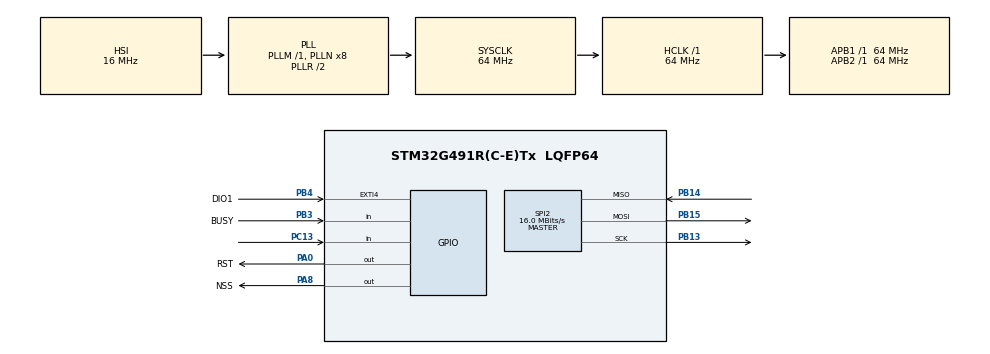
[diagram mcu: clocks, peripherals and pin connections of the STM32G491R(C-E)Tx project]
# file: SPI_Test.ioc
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Mcu.Family=STM32G4
Mcu.Name=STM32G491R(C-E)Tx
Mcu.Package=LQFP64
NUCLEO-G491RE.BUTTON=1
NUCLEO-G491RE.Bsp_Common_DEMO=true
NUCLEO-G491RE.LD2=true
NUCLEO-G491RE.VCP=true
NVIC.EXTI15_10_IRQn=true\:0\:0\:false\:false\:true\:false\:true\:true
NVIC.PriorityGroup=NVIC_PRIORITYGROUP_4
PA0.GPIO_Label=RST
PA0.PinState=GPIO_PIN_SET
PA0.Signal=GPIO_Output
PA2.Signal=LPUART1_TX
PA3.Signal=LPUART1_RX
PA8.GPIO_Label=NSS
PA8.PinState=GPIO_PIN_SET
PA8.Signal=GPIO_Output
PB13.Mode=Full_Duplex_Master
PB13.Signal=SPI2_SCK
PB14.Mode=Full_Duplex_Master
PB14.Signal=SPI2_MISO
PB15.Mode=Full_Duplex_Master
PB15.Signal=SPI2_MOSI
PB3.GPIO_Label=BUSY
PB3.Signal=GPIO_Input
PB4.GPIO_Label=DIO1
PB4.Signal=GPXTI4
PC13.Signal=GPIO_Input
PC14-OSC32_IN.GPIO_Label=RCC_OSC32_IN
PC14-OSC32_IN.Signal=RCC_OSC32_IN
PC15-OSC32_OUT.GPIO_Label=RCC_OSC32_OUT
PC15-OSC32_OUT.Signal=RCC_OSC32_OUT
PF0-OSC_IN.GPIO_Label=RCC_OSC_IN
PF0-OSC_IN.Signal=RCC_OSC_IN
PF1-OSC_OUT.GPIO_Label=RCC_OSC_OUT
PF1-OSC_OUT.Signal=RCC_OSC_OUT
ProjectManager.HeapSize=0x200
ProjectManager.StackSize=0x400
ProjectManager.TargetToolchain=CMake
RCC.ADC12Freq_Value=64000000
RCC.ADC345Freq_Value=64000000
RCC.AHBFreq_Value=64000000
RCC.APB1Freq_Value=64000000
RCC.APB1TimFreq_Value=64000000
RCC.APB2Freq_Value=64000000
RCC.APB2TimFreq_Value=64000000
RCC.CortexFreq_Value=64000000
RCC.EXTERNAL_CLOCK_VALUE=12288000
RCC.HCLKFreq_Value=64000000
RCC.HSE_VALUE=24000000
RCC.HSI48_VALUE=48000000
RCC.HSI_VALUE=16000000
RCC.LSE_VALUE=32768
RCC.RTCClockSelection=RCC_RTCCLKSOURCE_LSE
RCC.SYSCLKFreq_VALUE=64000000
RCC.SYSCLKSource=RCC_SYSCLKSOURCE_PLLCLK
RCC.USBFreq_Value=48000000
RCC.VCOOutputFreq_Value=128000000
SPI2.BaudRatePrescaler=SPI_BAUDRATEPRESCALER_4
SPI2.CalculateBaudRate=16.0 MBits/s
SPI2.DataSize=SPI_DATASIZE_8BIT
SPI2.Direction=SPI_DIRECTION_2LINES
SPI2.Mode=SPI_MODE_MASTER
SPI2.VirtualType=VM_MASTER
VP_NUCLEO-G491RE_VS_BSP_COMMON.Mode=COMMON
VP_SYS_VS_DBSignals.Mode=DisableDeadBatterySignals
board=NUCLEO-G491RE

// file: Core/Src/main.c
/* USER CODE BEGIN Header */
/**
  ******************************************************************************
  * @file           : main.c
  * @brief          : Main program body
  ******************************************************************************
  * @attention
  *
  * Copyright (c) 2026 STMicroelectronics.
  * All rights reserved.
  *
  * This software is licensed under terms that can be found in the LICENSE file
  * in the root directory of this software component.
  * If no LICENSE file comes with this software, it is provided AS-IS.
  *
  ******************************************************************************
  */
/* USER CODE END Header */
#include "main.h"

COM_InitTypeDef BspCOMInit;
__IO uint32_t BspButtonState = BUTTON_RELEASED;
SPI_HandleTypeDef hspi2;

void SystemClock_Config(void);
static void MX_GPIO_Init(void);
static void MX_SPI2_Init(void);

/* USER CODE BEGIN 0 */

static inline void SX1262_WaitWhileBusy(void)
{
    /* BUSY = HIGH → radio is busy */
    /* BUSY = LOW  → radio is ready */

/* VERY IMPORTANT */

    while (HAL_GPIO_ReadPin(BUSY_GPIO_Port, BUSY_Pin) == GPIO_PIN_SET)
    {
        /* optional: add small delay to reduce CPU load */
        __NOP();
    }
}

static void SX1262_Reset(void)
{
    /* Hold reset low */
    HAL_GPIO_WritePin(RST_GPIO_Port, RST_Pin, GPIO_PIN_RESET);
    HAL_Delay(2);                  // >10 µs required, 2 ms is safe

    /* Release reset */
    HAL_GPIO_WritePin(RST_GPIO_Port, RST_Pin, GPIO_PIN_SET);

    /* Mandatory delay after reset release */
    HAL_Delay(1);                  // VERY IMPORTANT (boot ROM time)

    /* Wait until SX1262 is ready */
    SX1262_WaitWhileBusy();
}

#define SX126X_CMD_SET_STANDBY   0x80
#define SX126X_STANDBY_RC        0x00
#define SX126X_STANDBY_XOSC      0x01
#define SX126X_CMD_READ_REGISTER  0x1D

static void SX1262_SetStandby(uint8_t mode)
{
    uint8_t cmd[2] = { SX126X_CMD_SET_STANDBY, mode };

    SX1262_WaitWhileBusy();
    HAL_GPIO_WritePin(NSS_GPIO_Port, NSS_Pin, GPIO_PIN_RESET);
    HAL_SPI_Transmit(&hspi2, cmd, 2, HAL_MAX_DELAY);
    HAL_GPIO_WritePin(NSS_GPIO_Port, NSS_Pin, GPIO_PIN_SET);
    SX1262_WaitWhileBusy();
}

#define SX126X_CMD_READ_REGISTER  0x1D

uint8_t SX1262_ReadRegister(uint16_t address)
{
    SX1262_SetStandby(SX126X_STANDBY_RC);
    static uint8_t txBuf[5];
    static uint8_t rxBuf[5];

    txBuf[0] = SX126X_CMD_READ_REGISTER;
    txBuf[1] = (address >> 8) & 0xFF;
    txBuf[2] = address & 0xFF;
    txBuf[3] = 0x00;   // mandatory dummy
    txBuf[4] = 0x00;   // read happens here

    SX1262_WaitWhileBusy();

    HAL_GPIO_WritePin(NSS_GPIO_Port, NSS_Pin, GPIO_PIN_RESET);
    // HAL_SPI_TransmitReceive(&hspi2, txBuf, rxBuf, 5, HAL_MAX_DELAY);

    if( HAL_SPI_TransmitReceive(&hspi2, txBuf, rxBuf, 5, HAL_MAX_DELAY) != HAL_OK)
    {
        Error_Handler();
    }
    HAL_GPIO_WritePin(NSS_GPIO_Port, NSS_Pin, GPIO_PIN_SET);

    SX1262_WaitWhileBusy();

    return rxBuf[4];   // ONLY valid byte
}

uint8_t SX1262_GetStatus(void)
{
    uint8_t tx[3] = { 0x1D,0xC0, 0x00 };
    uint8_t rx[3];

    SX1262_WaitWhileBusy();
    HAL_GPIO_WritePin(NSS_GPIO_Port, NSS_Pin, GPIO_PIN_RESET);
    // HAL_SPI_TransmitReceive(&hspi2, tx, rx, 2, HAL_MAX_DELAY);
    if( HAL_SPI_TransmitReceive(&hspi2, tx, rx, 2, HAL_MAX_DELAY) != HAL_OK)
    {
        Error_Handler();
    }
    HAL_GPIO_WritePin(NSS_GPIO_Port, NSS_Pin, GPIO_PIN_SET);
    SX1262_WaitWhileBusy();

    return rx[2];
}

/* USER CODE END 0 */

int main(void)
{

  /* USER CODE BEGIN 1 */
uint16_t address = 0x06BC;

uint8_t addr_hi = (address >> 8) & 0xFF;  // 0x08
uint8_t addr_lo = address & 0xFF;         // 0xE7

  /* USER CODE END 1 */

  /* MCU Configuration--------------------------------------------------------*/

  /* Reset of all peripherals, Initializes the Flash interface and the Systick. */
  HAL_Init();

  /* Configure the system clock */
  SystemClock_Config();

  /* Initialize all configured peripherals */
  MX_GPIO_Init();
  MX_SPI2_Init();

  /* Initialize led */
  BSP_LED_Init(LED_GREEN);

  /* Initialize USER push-button, will be used to trigger an interrupt each time it's pressed.*/
  BSP_PB_Init(BUTTON_USER, BUTTON_MODE_EXTI);

  /* Initialize COM1 port (115200, 8 bits (7-bit data + 1 stop bit), no parity */
  BspCOMInit.BaudRate   = 115200;
  BspCOMInit.WordLength = COM_WORDLENGTH_8B;
  BspCOMInit.StopBits   = COM_STOPBITS_1;
  BspCOMInit.Parity     = COM_PARITY_NONE;
  BspCOMInit.HwFlowCtl  = COM_HWCONTROL_NONE;
  if (BSP_COM_Init(COM1, &BspCOMInit) != BSP_ERROR_NONE)
  {
    Error_Handler();
  }

  /* USER CODE BEGIN BSP */

  /* -- Sample board code to send message over COM1 port ---- */
  printf("Welcome to STM32 world !\n\r");

  /* -- Sample board code to switch on led ---- */
  BSP_LED_On(LED_GREEN);

  /* USER CODE END BSP */

  /* Infinite loop */
  /* USER CODE BEGIN WHILE */
  while (1)
  {

    /* -- Sample board code for User push-button in interrupt mode ---- */
    if (BspButtonState == BUTTON_PRESSED)
    {
      /* Update button state */
      BspButtonState = BUTTON_RELEASED;
      /* -- Sample board code to toggle led ---- */
      BSP_LED_Toggle(LED_GREEN);

      SX1262_Reset();
      SX1262_SetStandby(SX126X_STANDBY_RC);
      uint8_t status = SX1262_GetStatus();

      printf("SX1262 status = 0x%02X\r\n", status);

      // SX1262_WaitWhileBusy();
      SX1262_ReadRegister(0x06BC);
      // SX1262_WaitWhileBusy();

      SX1262_ReadRegister(0x06BD);
      // SX1262_WaitWhileBusy();

      /* ..... Perform your action ..... */
    }
    /* USER CODE END WHILE */

  }
}

void SystemClock_Config(void)
{
  RCC_OscInitTypeDef RCC_OscInitStruct = {0};
  RCC_ClkInitTypeDef RCC_ClkInitStruct = {0};

  /** Configure the main internal regulator output voltage
  */
  HAL_PWREx_ControlVoltageScaling(PWR_REGULATOR_VOLTAGE_SCALE1);

  /** Initializes the RCC Oscillators according to the specified parameters
  * in the RCC_OscInitTypeDef structure.
  */
  RCC_OscInitStruct.OscillatorType = RCC_OSCILLATORTYPE_HSI;
  RCC_OscInitStruct.HSIState = RCC_HSI_ON;
  RCC_OscInitStruct.HSICalibrationValue = RCC_HSICALIBRATION_DEFAULT;
  RCC_OscInitStruct.PLL.PLLState = RCC_PLL_ON;
  RCC_OscInitStruct.PLL.PLLSource = RCC_PLLSOURCE_HSI;
  RCC_OscInitStruct.PLL.PLLM = RCC_PLLM_DIV1;
  RCC_OscInitStruct.PLL.PLLN = 8;
  RCC_OscInitStruct.PLL.PLLP = RCC_PLLP_DIV2;
  RCC_OscInitStruct.PLL.PLLQ = RCC_PLLQ_DIV2;
  RCC_OscInitStruct.PLL.PLLR = RCC_PLLR_DIV2;
  if (HAL_RCC_OscConfig(&RCC_OscInitStruct) != HAL_OK)
  {
    Error_Handler();
  }

  /** Initializes the CPU, AHB and APB buses clocks
  */
  RCC_ClkInitStruct.ClockType = RCC_CLOCKTYPE_HCLK|RCC_CLOCKTYPE_SYSCLK
                              |RCC_CLOCKTYPE_PCLK1|RCC_CLOCKTYPE_PCLK2;
  RCC_ClkInitStruct.SYSCLKSource = RCC_SYSCLKSOURCE_PLLCLK;
  RCC_ClkInitStruct.AHBCLKDivider = RCC_SYSCLK_DIV1;
  RCC_ClkInitStruct.APB1CLKDivider = RCC_HCLK_DIV1;
  RCC_ClkInitStruct.APB2CLKDivider = RCC_HCLK_DIV1;

  if (HAL_RCC_ClockConfig(&RCC_ClkInitStruct, FLASH_LATENCY_2) != HAL_OK)
  {
    Error_Handler();
  }
}

static void MX_SPI2_Init(void)
{

  /* SPI2 parameter configuration*/
  hspi2.Instance = SPI2;
  hspi2.Init.Mode = SPI_MODE_MASTER;
  hspi2.Init.Direction = SPI_DIRECTION_2LINES;
  hspi2.Init.DataSize = SPI_DATASIZE_8BIT;
  hspi2.Init.CLKPolarity = SPI_POLARITY_LOW;
  hspi2.Init.CLKPhase = SPI_PHASE_1EDGE;
  hspi2.Init.NSS = SPI_NSS_SOFT;
  hspi2.Init.BaudRatePrescaler = SPI_BAUDRATEPRESCALER_4;
  hspi2.Init.FirstBit = SPI_FIRSTBIT_MSB;
  hspi2.Init.TIMode = SPI_TIMODE_DISABLE;
  hspi2.Init.CRCCalculation = SPI_CRCCALCULATION_DISABLE;
  hspi2.Init.CRCPolynomial = 7;
  hspi2.Init.CRCLength = SPI_CRC_LENGTH_DATASIZE;
  hspi2.Init.NSSPMode = SPI_NSS_PULSE_ENABLE;
  if (HAL_SPI_Init(&hspi2) != HAL_OK)
  {
    Error_Handler();
  }

}

static void MX_GPIO_Init(void)
{
  GPIO_InitTypeDef GPIO_InitStruct = {0};

  /* GPIO Ports Clock Enable */
  __HAL_RCC_GPIOC_CLK_ENABLE();
  __HAL_RCC_GPIOF_CLK_ENABLE();
  __HAL_RCC_GPIOA_CLK_ENABLE();
  __HAL_RCC_GPIOB_CLK_ENABLE();

  /*Configure GPIO pin Output Level */
  HAL_GPIO_WritePin(GPIOA, RST_Pin|NSS_Pin, GPIO_PIN_SET);

  /*Configure GPIO pin : PC13 */
  GPIO_InitStruct.Pin = GPIO_PIN_13;
  GPIO_InitStruct.Mode = GPIO_MODE_INPUT;
  GPIO_InitStruct.Pull = GPIO_NOPULL;
  HAL_GPIO_Init(GPIOC, &GPIO_InitStruct);

  /*Configure GPIO pins : RST_Pin NSS_Pin */
  GPIO_InitStruct.Pin = RST_Pin|NSS_Pin;
  GPIO_InitStruct.Mode = GPIO_MODE_OUTPUT_PP;
  GPIO_InitStruct.Pull = GPIO_NOPULL;
  GPIO_InitStruct.Speed = GPIO_SPEED_FREQ_LOW;
  HAL_GPIO_Init(GPIOA, &GPIO_InitStruct);

  /*Configure GPIO pin : BUSY_Pin */
  GPIO_InitStruct.Pin = BUSY_Pin;
  GPIO_InitStruct.Mode = GPIO_MODE_INPUT;
  GPIO_InitStruct.Pull = GPIO_NOPULL;
  HAL_GPIO_Init(BUSY_GPIO_Port, &GPIO_InitStruct);

  /*Configure GPIO pin : DIO1_Pin */
  GPIO_InitStruct.Pin = DIO1_Pin;
  GPIO_InitStruct.Mode = GPIO_MODE_IT_RISING;
  GPIO_InitStruct.Pull = GPIO_NOPULL;
  HAL_GPIO_Init(DIO1_GPIO_Port, &GPIO_InitStruct);

}

/**
  * @brief BSP Push Button callback
  * @param Button Specifies the pressed button
  * @retval None
  */
void BSP_PB_Callback(Button_TypeDef Button)
{
  if (Button == BUTTON_USER)
  {
    BspButtonState = BUTTON_PRESSED;
  }
}

void Error_Handler(void)
{
  __disable_irq();
  while (1)
  {
  }
}
